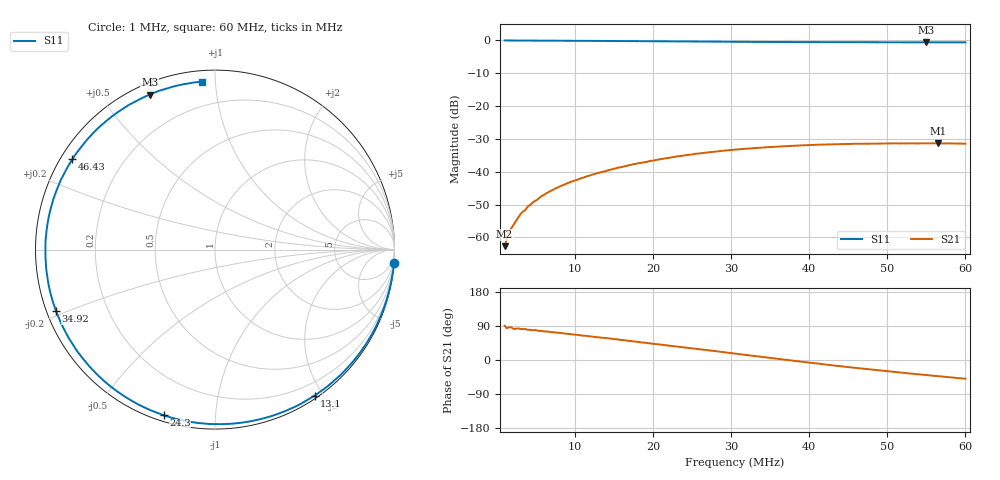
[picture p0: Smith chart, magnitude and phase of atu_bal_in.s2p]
! S11/S21 from S-A-A-2 VNA
! Written 2026-11-14 07:39:48 by the saav2 MCP server
! S12 and S22 were not measured (1.5-port VNA) and are written as 0
# HZ S RI R 50
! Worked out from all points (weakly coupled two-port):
!   201 points, 1 MHz to 60 MHz, reference 50 ohm
!   highest |S21| = -31.31 dB at 56.46 MHz (marker M1); lowest = -62.6 dB at 1 MHz (marker M2)
!   lowest |S11| = -0.6 dB at 54.98 MHz (marker M3), VSWR 30.75, Z = 2.34 + j33.1 ohm
!   |S11| at or under -10 dB: nowhere
!   S12 and S22 are empty: the file has one direction only
!   S11 on the Smith chart (normalised r, x): 1 MHz: -0, -27; 13.1 MHz: 0.03, -1.89; 24.3 MHz: 0.03, -0.74; 34.92 MHz: 0.03, -0.19; 46.43 MHz: 0.03, +0.29; 60 MHz: 0.06, +0.92
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1000000  0.9983 -0.0728  -4.54e-06 0.000738  0 0  0 0
1295000  0.9951 -0.0957  0.000106 0.000964  0 0  0 0
1885000  0.989 -0.1386  9.71e-05 0.0014  0 0  0 0
3065000  0.9719 -0.2231  0.000326 0.00227  0 0  0 0
3950000  0.9546 -0.2854  0.000528 0.00289  0 0  0 0
6310000  0.8886 -0.4444  0.0012 0.00455  0 0  0 0
1.103e7  0.6775 -0.7183  0.00353 0.00731  0 0  0 0
1.3095e7  0.5553 -0.8137  0.00485 0.00837  0 0  0 0
1.693e7  0.2898 -0.9348  0.008 0.00979  0 0  0 0
2.0765e7  -0.00758 -0.972  0.0117 0.0101  0 0  0 0
2.4305e7  -0.2856 -0.923  0.0152 0.00964  0 0  0 0
2.7255e7  -0.5015 -0.8197  0.018 0.00847  0 0  0 0
3.05e7  -0.7019 -0.6482  0.0208 0.00632  0 0  0 0
3.4925e7  -0.8853 -0.3433  0.0237 0.00241  0 0  0 0
3.758e7  -0.9367 -0.1374  0.0248 -0.000355  0 0  0 0
4.053e7  -0.9398 0.0937  0.0255 -0.00369  0 0  0 0
4.3185e7  -0.8973 0.2906  0.0255 -0.00653  0 0  0 0
4.643e7  -0.7946 0.5034  0.0248 -0.01  0 0  0 0
5.0265e7  -0.6213 0.7033  0.0234 -0.0136  0 0  0 0
5.4985e7  -0.3639 0.8634  0.0208 -0.0173  0 0  0 0
5.646e7  -0.2797 0.8946  0.02 -0.0184  0 0  0 0
6e7  -0.0738 0.935  0.0174 -0.0203  0 0  0 0
